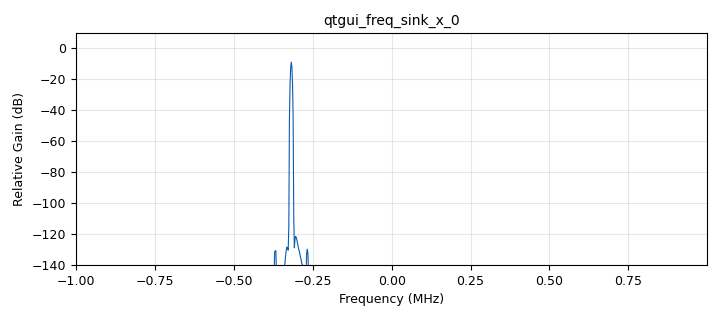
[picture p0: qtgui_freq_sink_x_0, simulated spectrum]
options:
  parameters:
    author: dan
    generate_options: qt_gui
    id: multiple_phase_1
    output_language: python
    title: Multiple Cariers
  states: {}

blocks:
- name: audio_samp_rate
  id: variable
  parameters:
    value: 380e3
  states: {}
- name: fm_max_dev
  id: variable
  parameters:
    value: 50e3
  states: {}
- name: freq_offset
  id: variable
  parameters:
    value: 250e3
  states: {}
- name: outbuffer
  id: variable
  parameters:
    value: '100'
  states: {}
- name: samp_rate
  id: variable
  parameters:
    value: 2e6
  states: {}
- name: analog_sig_source_x_0
  id: analog_sig_source_x
  parameters:
    amp: '1'
    freq: '1000'
    offset: '0'
    phase: '0'
    samp_rate: samp_rate
    type: complex
    waveform: analog.GR_SIN_WAVE
  states: {state: disabled}
- name: analog_sig_source_x_0_0
  id: analog_sig_source_x
  parameters:
    amp: '1'
    freq: '2000'
    offset: '0'
    phase: '0'
    samp_rate: samp_rate
    type: complex
    waveform: analog.GR_SIN_WAVE
  states: {state: disabled}
- name: analog_sig_source_x_0_0_0
  id: analog_sig_source_x
  parameters:
    amp: '1'
    freq: '200000'
    offset: '0'
    phase: '0'
    samp_rate: samp_rate
    type: complex
    waveform: analog.GR_SIN_WAVE
  states: {state: disabled}
- name: analog_sig_source_x_0_0_0_0
  id: analog_sig_source_x
  parameters:
    amp: '1'
    freq: '500000'
    offset: '0'
    phase: '0'
    samp_rate: samp_rate
    type: complex
    waveform: analog.GR_SIN_WAVE
  states: {state: disabled}
- name: analog_sig_source_x_0_1
  id: analog_sig_source_x
  parameters:
    amp: '1'
    freq: '500'
    offset: '0'
    phase: '0'
    samp_rate: samp_rate
    type: complex
    waveform: analog.GR_SIN_WAVE
  states: {state: disabled}
- name: blocks_add_xx_0
  id: blocks_add_xx
  parameters:
    type: complex
  states: {state: disabled}
- name: blocks_add_xx_0_0
  id: blocks_add_xx
  parameters:
    type: complex
  states: {state: disabled}
- name: blocks_multiply_xx_0
  id: blocks_multiply_xx
  parameters:
    type: complex
  states: {state: disabled}
- name: blocks_multiply_xx_0_0
  id: blocks_multiply_xx
  parameters:
    type: complex
  states: {state: disabled}
- name: blocks_vector_source_x_0
  id: blocks_vector_source_x
  parameters:
    repeat: 'True'
    type: byte
    vector: (0, 1, 0, 1, 1, 1, 0, 1)
  states: {}
- name: digital_gfsk_mod_0
  id: digital_gfsk_mod
  parameters:
    bt: '0.5'
    samples_per_symbol: '200'
    sensitivity: '1.0'
  states: {}
- name: import_0
  id: import
  parameters:
    imports: import math
  states: {}
- name: qtgui_freq_sink_x_0
  id: qtgui_freq_sink_x
  parameters:
    bw: samp_rate
    fc: '0'
    fftsize: '1024'
    type: complex
  states: {}
- name: qtgui_sink_x_0
  id: qtgui_sink_x
  parameters:
    bw: samp_rate
    fc: '100000'
    fftsize: '1024'
    type: complex
  states: {state: disabled}

connections:
- [analog_sig_source_x_0, '0', blocks_add_xx_0, '0']
- [analog_sig_source_x_0_0, '0', blocks_add_xx_0, '1']
- [analog_sig_source_x_0_0_0, '0', blocks_multiply_xx_0, '1']
- [analog_sig_source_x_0_0_0_0, '0', blocks_multiply_xx_0_0, '1']
- [analog_sig_source_x_0_1, '0', blocks_multiply_xx_0_0, '0']
- [blocks_add_xx_0, '0', blocks_multiply_xx_0, '0']
- [blocks_add_xx_0_0, '0', qtgui_sink_x_0, '0']
- [blocks_multiply_xx_0, '0', blocks_add_xx_0_0, '0']
- [blocks_multiply_xx_0_0, '0', blocks_add_xx_0_0, '1']
- [blocks_vector_source_x_0, '0', digital_gfsk_mod_0, '0']
- [digital_gfsk_mod_0, '0', qtgui_freq_sink_x_0, '0']

metadata:
  file_format: 1
  grc_version: 3.10.11.0
